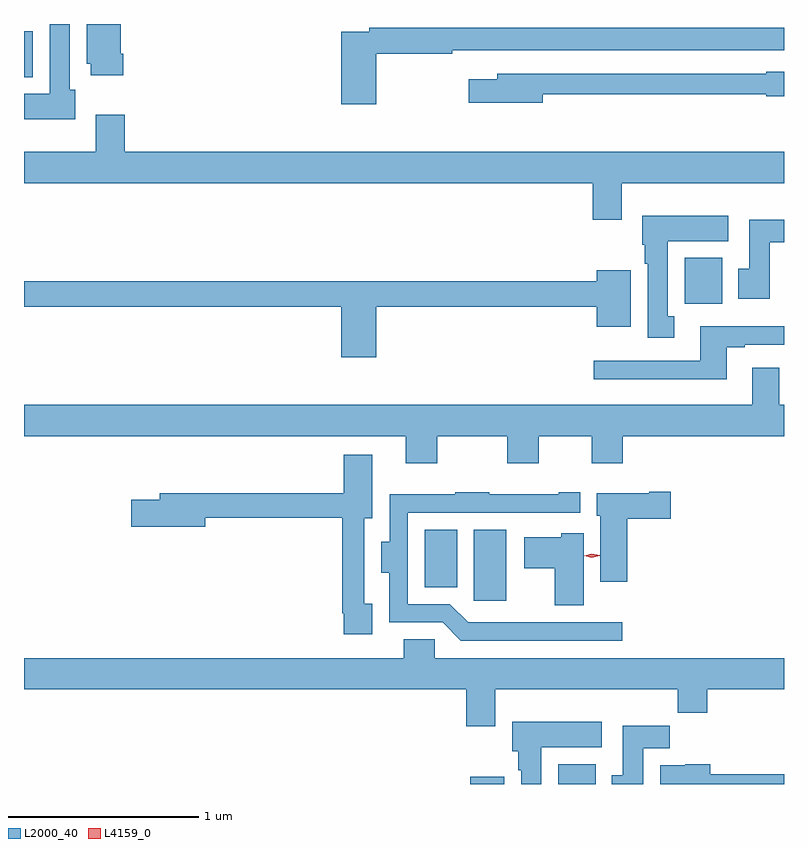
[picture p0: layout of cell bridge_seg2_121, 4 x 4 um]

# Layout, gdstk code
import gdstk
lib = gdstk.Library(unit=1e-6, precision=1e-09)
def R(c, l, rs):  # rectangles x0, y0, x1, y1
    for r in rs: c.add(gdstk.rectangle(r[:2], r[2:], *l))
def P(c, l, *ps):  # polygons
    for p in ps: c.add(gdstk.Polygon(p, *l))
L2000_40 = (2000, 40)
L4159_0 = (4159, 0)

bridge_seg2_121 = lib.new_cell('bridge_seg2_121')
R(bridge_seg2_121, L2000_40, [(471.038,627.157,471.217,627.196), (471.5,627.157,471.697,627.262), (471.056,628.122,471.226,628.495), (470.798,628.193,470.968,628.495), (472.166,629.684,472.363,629.926), (468.689,630.878,468.736,631.12)])
P(bridge_seg2_121, L2000_40, [(468.958,630.81),(468.931,630.81),(468.931,631.157),(468.824,631.157),(468.824,630.79),(468.689,630.79),(468.689,630.656),(468.958,630.656)],
  [(469.211,631),(469.198,631),(469.198,631.157),(469.019,631.157),(469.019,630.948),(469.04,630.948),(469.04,630.888),(469.211,630.888)],
  [(470.543,631),(470.942,631),(470.942,631.02),(472.689,631.02),(472.689,631.136),(470.506,631.136),(470.506,631.116),(470.36,631.116),(470.36,630.735),(470.543,630.735)],
  [(471.418,630.786),(472.596,630.786),(472.596,630.778),(472.689,630.778),(472.689,630.907),(472.596,630.907),(472.596,630.894),(471.179,630.894),(471.179,630.865),(471.03,630.865),(471.03,630.743),(471.418,630.743)],
  [(471.835,630.32),(472.689,630.32),(472.689,630.484),(469.22,630.484),(469.22,630.679),(469.067,630.679),(469.067,630.484),(468.689,630.484),(468.689,630.32),(471.683,630.32),(471.683,630.126),(471.835,630.126)],
  [(472.111,629.618),(472.078,629.618),(472.078,630.014),(472.396,630.014),(472.396,630.148),(471.944,630.148),(471.944,629.994),(471.956,629.994),(471.956,629.894),(471.971,629.894),(471.971,629.505),(472.111,629.505)],
  [(472.615,630.008),(472.689,630.008),(472.689,630.127),(472.505,630.127),(472.505,629.868),(472.448,629.868),(472.448,629.712),(472.615,629.712)],
  [(470.543,629.668),(471.704,629.668),(471.704,629.564),(471.883,629.564),(471.883,629.86),(471.704,629.86),(471.704,629.804),(468.689,629.804),(468.689,629.668),(470.36,629.668),(470.36,629.403),(470.543,629.403)],
  [(472.387,629.457),(472.483,629.457),(472.483,629.469),(472.689,629.469),(472.689,629.566),(472.247,629.566),(472.247,629.385),(471.687,629.385),(471.687,629.288),(472.387,629.288)],
  [(470.863,628.988),(471.233,628.988),(471.233,628.845),(471.397,628.845),(471.397,628.988),(471.677,628.988),(471.677,628.845),(471.841,628.845),(471.841,628.988),(472.689,628.988),(472.689,629.152),(472.663,629.152),(472.663,629.347),(472.523,629.347),(472.523,629.152),(468.689,629.152),(468.689,628.988),(470.699,628.988),(470.699,628.845),(470.863,628.845)],
  [(470.521,628.105),(470.481,628.105),(470.481,628.556),(470.521,628.556),(470.521,628.891),(470.372,628.891),(470.372,628.687),(469.403,628.687),(469.403,628.653),(469.254,628.653),(469.254,628.511),(469.642,628.511),(469.642,628.558),(470.365,628.558),(470.365,628.057),(470.373,628.057),(470.373,627.945),(470.521,627.945)],
  [(471.863,628.553),(472.093,628.553),(472.093,628.695),(471.98,628.695),(471.98,628.687),(471.704,628.687),(471.704,628.569),(471.722,628.569),(471.722,628.221),(471.863,628.221)],
  [(471.838,628.008),(471.027,628.008),(470.931,628.104),(470.709,628.104),(470.709,628.584),(471.616,628.584),(471.616,628.693),(471.503,628.693),(471.503,628.681),(471.137,628.681),(471.137,628.693),(470.959,628.693),(470.959,628.681),(470.613,628.681),(470.613,628.432),(470.57,628.432),(470.57,628.268),(470.612,628.268),(470.612,628.008),(470.892,628.008),(470.988,627.912),(471.838,627.912)],
  [(471.634,628.477),(471.516,628.477),(471.516,628.456),(471.321,628.456),(471.321,628.292),(471.482,628.292),(471.482,628.097),(471.634,628.097)],
  [(471.169,627.656),(472.129,627.656),(472.129,627.532),(472.286,627.532),(472.286,627.656),(472.689,627.656),(472.689,627.82),(470.85,627.82),(470.85,627.918),(470.687,627.918),(470.687,627.82),(468.689,627.82),(468.689,627.656),(471.017,627.656),(471.017,627.462),(471.169,627.462)],
  [(471.412,627.35),(471.73,627.35),(471.73,627.484),(471.26,627.484),(471.26,627.33),(471.29,627.33),(471.29,627.23),(471.305,627.23),(471.305,627.157),(471.412,627.157)],
  [(471.949,627.344),(472.088,627.344),(472.088,627.463),(471.839,627.463),(471.839,627.204),(471.782,627.204),(471.782,627.157),(471.949,627.157)],
  [(472.689,627.208),(472.301,627.208),(472.301,627.262),(472.17,627.262),(472.17,627.256),(472.037,627.256),(472.037,627.157),(472.689,627.157)])
P(bridge_seg2_121, L4159_0, [(471.678,628.349),(471.637,628.359),(471.637,628.359),(471.637,628.359),(471.678,628.369),(471.719,628.36),(471.719,628.36),(471.719,628.359)])

lib.write_gds('bridge_seg2_121.gds')
